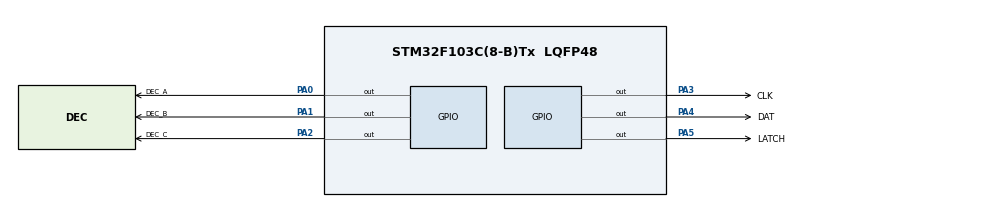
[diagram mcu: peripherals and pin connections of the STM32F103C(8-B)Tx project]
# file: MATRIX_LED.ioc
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Mcu.Family=STM32F1
Mcu.Name=STM32F103C(8-B)Tx
Mcu.Package=LQFP48
NVIC.PriorityGroup=NVIC_PRIORITYGROUP_4
PA0-WKUP.GPIO_Label=DEC_A
PA0-WKUP.Signal=GPIO_Output
PA1.GPIO_Label=DEC_B
PA1.Signal=GPIO_Output
PA2.GPIO_Label=DEC_C
PA2.Signal=GPIO_Output
PA3.GPIO_Label=CLK
PA3.Signal=GPIO_Output
PA4.GPIO_Label=DAT
PA4.Signal=GPIO_Output
PA5.GPIO_Label=LATCH
PA5.Signal=GPIO_Output
ProjectManager.HeapSize=0x200
ProjectManager.StackSize=0x400
ProjectManager.TargetToolchain=MDK-ARM V5.32
RCC.APB1Freq_Value=8000000
RCC.APB2Freq_Value=8000000
VP_SYS_VS_ND.Mode=No_Debug
board=custom

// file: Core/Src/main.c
/* USER CODE BEGIN Header */
/**
  ******************************************************************************
  * @file           : main.c
  * @brief          : Main program body
  ******************************************************************************
  * @attention
  *
  * Copyright (c) 2025 STMicroelectronics.
  * All rights reserved.
  *
  * This software is licensed under terms that can be found in the LICENSE file
  * in the root directory of this software component.
  * If no LICENSE file comes with this software, it is provided AS-IS.
  *
  ******************************************************************************
  */
/* USER CODE END Header */
#include "main.h"

/* USER CODE BEGIN Includes */
#include "IC74HC138.h"
#include "IC74HC595.h"
#include "LED_MATRIX.h"
/* USER CODE END Includes */

/* USER CODE BEGIN PV */
Hardware74HC138_Cnf_t Decoder = {
		.A_PORT = DEC_A_GPIO_Port,
		.B_PORT = DEC_B_GPIO_Port,
		.C_PORT = DEC_C_GPIO_Port,
		.A_PIN = DEC_A_Pin,
		.B_PIN = DEC_B_Pin,
		.C_PIN = DEC_C_Pin,
};

Hardware74HC595_Cnf_t IcLatch = {
		.CLK_PORT = CLK_GPIO_Port,
		.DAT_PORT = DAT_GPIO_Port,
		.LATCH_PORT = LATCH_GPIO_Port,
		.CLK_PIN = CLK_Pin,
		.DAT_PIN = DAT_Pin,
		.LATCH_PIN = LATCH_Pin,
};
LedMatrixCnf_t LedMatrix = {
	.IsIdle = 1,
	.TimeDisplay = 0,
	.Decoder = &Decoder,
	.ICLatch = &IcLatch
};
/* USER CODE END PV */

void SystemClock_Config(void);
static void MX_GPIO_Init(void);

int main(void)
{

  /* MCU Configuration--------------------------------------------------------*/

  /* Reset of all peripherals, Initializes the Flash interface and the Systick. */
  HAL_Init();

  /* Configure the system clock */
  SystemClock_Config();

  /* Initialize all configured peripherals */
  MX_GPIO_Init();

  /* Infinite loop */
  /* USER CODE BEGIN WHILE */
	uint8_t characterH[] = {
		0x11,
		0x11,
		0x11,
		0x1F,
		0x11,
		0x11,
		0x11
	};
	uint8_t characterU[] = {
		0x11,
		0x11,
		0x11,
		0x11,
		0x11,
		0x11,
		0x0E
	};
	uint8_t characterY[] = {
		0x11,
		0x0A,
		0x04,
		0x04,
		0x04,
		0x04,
		0x04
	};
	uint8_t* character[] = {characterH, characterU, characterY};
	uint8_t i = 0;
  while (1)
  {
		LED_MATRIX_Display(&LedMatrix, character[i], 200);
		if(LedMatrix.IsIdle == 1) {
			i++;
			i %=3;
		}

    /* USER CODE END WHILE */

  }
}

void SystemClock_Config(void)
{
  RCC_OscInitTypeDef RCC_OscInitStruct = {0};
  RCC_ClkInitTypeDef RCC_ClkInitStruct = {0};

  /** Initializes the RCC Oscillators according to the specified parameters
  * in the RCC_OscInitTypeDef structure.
  */
  RCC_OscInitStruct.OscillatorType = RCC_OSCILLATORTYPE_HSI;
  RCC_OscInitStruct.HSIState = RCC_HSI_ON;
  RCC_OscInitStruct.HSICalibrationValue = RCC_HSICALIBRATION_DEFAULT;
  RCC_OscInitStruct.PLL.PLLState = RCC_PLL_NONE;
  if (HAL_RCC_OscConfig(&RCC_OscInitStruct) != HAL_OK)
  {
    Error_Handler();
  }

  /** Initializes the CPU, AHB and APB buses clocks
  */
  RCC_ClkInitStruct.ClockType = RCC_CLOCKTYPE_HCLK|RCC_CLOCKTYPE_SYSCLK
                              |RCC_CLOCKTYPE_PCLK1|RCC_CLOCKTYPE_PCLK2;
  RCC_ClkInitStruct.SYSCLKSource = RCC_SYSCLKSOURCE_HSI;
  RCC_ClkInitStruct.AHBCLKDivider = RCC_SYSCLK_DIV1;
  RCC_ClkInitStruct.APB1CLKDivider = RCC_HCLK_DIV1;
  RCC_ClkInitStruct.APB2CLKDivider = RCC_HCLK_DIV1;

  if (HAL_RCC_ClockConfig(&RCC_ClkInitStruct, FLASH_LATENCY_0) != HAL_OK)
  {
    Error_Handler();
  }
}

static void MX_GPIO_Init(void)
{
  GPIO_InitTypeDef GPIO_InitStruct = {0};

  /* GPIO Ports Clock Enable */
  __HAL_RCC_GPIOA_CLK_ENABLE();

  /*Configure GPIO pin Output Level */
  HAL_GPIO_WritePin(GPIOA, DEC_A_Pin|DEC_B_Pin|DEC_C_Pin|CLK_Pin
                          |DAT_Pin|LATCH_Pin, GPIO_PIN_RESET);

  /*Configure GPIO pins : DEC_A_Pin DEC_B_Pin DEC_C_Pin CLK_Pin
                           DAT_Pin LATCH_Pin */
  GPIO_InitStruct.Pin = DEC_A_Pin|DEC_B_Pin|DEC_C_Pin|CLK_Pin
                          |DAT_Pin|LATCH_Pin;
  GPIO_InitStruct.Mode = GPIO_MODE_OUTPUT_PP;
  GPIO_InitStruct.Pull = GPIO_NOPULL;
  GPIO_InitStruct.Speed = GPIO_SPEED_FREQ_LOW;
  HAL_GPIO_Init(GPIOA, &GPIO_InitStruct);

}

void Error_Handler(void)
{
  __disable_irq();
  while (1)
  {
  }
}
